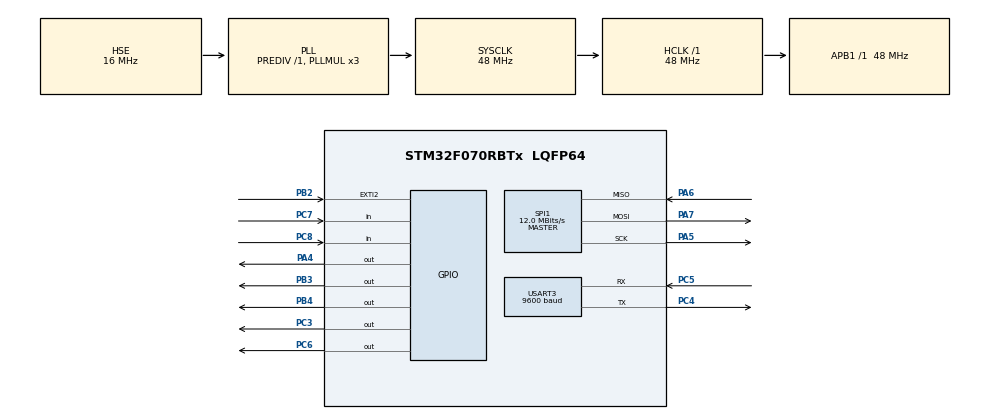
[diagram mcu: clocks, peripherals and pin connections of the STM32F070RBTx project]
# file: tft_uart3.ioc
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Mcu.Family=STM32F0
Mcu.Name=STM32F070RBTx
Mcu.Package=LQFP64
NVIC.EXTI2_3_IRQn=true\:0\:0\:false\:false\:true
NVIC.USART3_4_IRQn=true\:0\:0\:false\:false\:true
PA4.PinState=GPIO_PIN_SET
PA4.Signal=GPIO_Output
PA5.Mode=Full_Duplex_Master
PA5.Signal=SPI1_SCK
PA6.Mode=Full_Duplex_Master
PA6.Signal=SPI1_MISO
PA7.Mode=Full_Duplex_Master
PA7.Signal=SPI1_MOSI
PB2.GPIO_ModeDefaultEXTI=GPIO_MODE_IT_FALLING
PB2.GPIO_PuPd=GPIO_PULLUP
PB2.Signal=GPXTI2
PB3.Signal=GPIO_Output
PB4.Signal=GPIO_Output
PC3.PinState=GPIO_PIN_SET
PC3.Signal=GPIO_Output
PC4.Mode=Asynchronous
PC4.Signal=USART3_TX
PC5.Mode=Asynchronous
PC5.Signal=USART3_RX
PC6.PinState=GPIO_PIN_SET
PC6.Signal=GPIO_Output
PC7.Signal=GPIO_Input
PC8.Signal=GPIO_Input
PF0-OSC_IN.Mode=HSE-External-Oscillator
PF0-OSC_IN.Signal=RCC_OSC_IN
PF1-OSC_OUT.Mode=HSE-External-Oscillator
PF1-OSC_OUT.Signal=RCC_OSC_OUT
ProjectManager.HeapSize=0x200
ProjectManager.StackSize=0x400
ProjectManager.TargetToolchain=MDK-ARM V5
RCC.AHBFreq_Value=48000000
RCC.APB1Freq_Value=48000000
RCC.APB1TimFreq_Value=48000000
RCC.HCLKFreq_Value=48000000
RCC.HSE_VALUE=16000000
RCC.PLLMUL=RCC_PLL_MUL3
RCC.PLLSourceVirtual=RCC_PLLSOURCE_HSE
RCC.SYSCLKFreq_VALUE=48000000
RCC.SYSCLKSource=RCC_SYSCLKSOURCE_PLLCLK
SPI1.BaudRatePrescaler=SPI_BAUDRATEPRESCALER_4
SPI1.CalculateBaudRate=12.0 MBits/s
SPI1.DataSize=SPI_DATASIZE_8BIT
SPI1.Direction=SPI_DIRECTION_2LINES
SPI1.Mode=SPI_MODE_MASTER
SPI1.VirtualType=VM_MASTER
USART3.BaudRate=9600
USART3.VirtualMode-Asynchronous=VM_ASYNC
USART3.WordLength=WORDLENGTH_8B
board=tft_uart3

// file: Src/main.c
/**
  ******************************************************************************
  * File Name          : main.c
  * Description        : Main program body
  ******************************************************************************
  ** This notice applies to any and all portions of this file
  * that are not between comment pairs USER CODE BEGIN and
  * USER CODE END. Other portions of this file, whether
  * inserted by the user or by software development tools
  * are owned by their respective copyright owners.
  *
  * COPYRIGHT(c) 2017 STMicroelectronics
  *
  * Redistribution and use in source and binary forms, with or without modification,
  * are permitted provided that the following conditions are met:
  *   1. Redistributions of source code must retain the above copyright notice,
  *      this list of conditions and the following disclaimer.
  *   2. Redistributions in binary form must reproduce the above copyright notice,
  *      this list of conditions and the following disclaimer in the documentation
  *      and/or other materials provided with the distribution.
  *   3. Neither the name of STMicroelectronics nor the names of its contributors
  *      may be used to endorse or promote products derived from this software
  *      without specific prior written permission.
  *
  * THIS SOFTWARE IS PROVIDED BY THE COPYRIGHT HOLDERS AND CONTRIBUTORS "AS IS"
  * AND ANY EXPRESS OR IMPLIED WARRANTIES, INCLUDING, BUT NOT LIMITED TO, THE
  * IMPLIED WARRANTIES OF MERCHANTABILITY AND FITNESS FOR A PARTICULAR PURPOSE ARE
  * DISCLAIMED. IN NO EVENT SHALL THE COPYRIGHT HOLDER OR CONTRIBUTORS BE LIABLE
  * FOR ANY DIRECT, INDIRECT, INCIDENTAL, SPECIAL, EXEMPLARY, OR CONSEQUENTIAL
  * DAMAGES (INCLUDING, BUT NOT LIMITED TO, PROCUREMENT OF SUBSTITUTE GOODS OR
  * SERVICES; LOSS OF USE, DATA, OR PROFITS; OR BUSINESS INTERRUPTION) HOWEVER
  * CAUSED AND ON ANY THEORY OF LIABILITY, WHETHER IN CONTRACT, STRICT LIABILITY,
  * OR TORT (INCLUDING NEGLIGENCE OR OTHERWISE) ARISING IN ANY WAY OUT OF THE USE
  * OF THIS SOFTWARE, EVEN IF ADVISED OF THE POSSIBILITY OF SUCH DAMAGE.
  *
  ******************************************************************************
  */
#include "main.h"
#include "stm32f0xx_hal.h"
#include "tft_spi.c"

SPI_HandleTypeDef hspi1;

UART_HandleTypeDef huart3;

/* USER CODE BEGIN PV */
/* Private variables ---------------------------------------------------------*/

/* USER CODE END PV */

void SystemClock_Config(void);
static void MX_GPIO_Init(void);
static void MX_SPI1_Init(void);
static void MX_USART3_UART_Init(void);

/* USER CODE BEGIN PFP */
/* Private function prototypes -----------------------------------------------*/
unsigned char buffer[50],ch;
int i=0,flag2=0,flag=0;
/* USER CODE END PFP */

/* USER CODE BEGIN 0 */
void HAL_UART_RxCpltCallback(UART_HandleTypeDef *huart)
{
//flag2=1;
  /* Prevent unused argument(s) compilation warning */
  UNUSED(huart);
if(huart->Instance==USART3)
{
HAL_UART_Receive_IT(&huart3,&ch,1);
buffer[i++]=ch;
	if(ch==0x0D)
	{
		flag2=1;
	}
}
  /* NOTE : This function should not be modified, when the callback is needed,
            the HAL_UART_RxCpltCallback can be implemented in the user file.
   */
}
/* USER CODE END 0 */

int main(void)
{

  /* MCU Configuration----------------------------------------------------------*/

  /* Reset of all peripherals, Initializes the Flash interface and the Systick. */
  HAL_Init();

  /* Configure the system clock */
  SystemClock_Config();

  /* Initialize all configured peripherals */
  MX_GPIO_Init();
  MX_SPI1_Init();
  MX_USART3_UART_Init();

  /* USER CODE BEGIN 2 */
tft_init();
HAL_UART_Receive_IT(&huart3,&ch,1);
POINT_COLOR=RED;
tft_puts14x24(10,10,"Shivam",1);
  /* USER CODE END 2 */
  /* Infinite loop */
  while (1)
  {

  /* USER CODE BEGIN 3 */
if(flag==1)
{
HAL_UART_Transmit(&huart3,"PARASHAR\r\n",9,10);
tft_clear(WHITE);
POINT_COLOR=RED;
tft_puts14x24(50,50,"Parashar",1);
	//HAL_Delay(100);
//tft_puts14x24(10,10,buffer,1);
flag=0;
}

if(flag2==1)
{
tft_clear(WHITE);
tft_puts14x24(70,10,buffer,1);
HAL_UART_Transmit(&huart3,buffer,i,10);
flag2=0;
i=0;
}
	//HAL_UART_Transmit(&huart3,"K",1,10);
  }
  /* USER CODE END 3 */

}

/** System Clock Configuration
*/
void SystemClock_Config(void)
{

  RCC_OscInitTypeDef RCC_OscInitStruct;
  RCC_ClkInitTypeDef RCC_ClkInitStruct;

    /**Initializes the CPU, AHB and APB busses clocks
    */
  RCC_OscInitStruct.OscillatorType = RCC_OSCILLATORTYPE_HSE;
  RCC_OscInitStruct.HSEState = RCC_HSE_ON;
  RCC_OscInitStruct.HSIState = RCC_HSI_ON;
  RCC_OscInitStruct.PLL.PLLState = RCC_PLL_ON;
  RCC_OscInitStruct.PLL.PLLSource = RCC_PLLSOURCE_HSE;
  RCC_OscInitStruct.PLL.PLLMUL = RCC_PLL_MUL3;
  RCC_OscInitStruct.PLL.PREDIV = RCC_PREDIV_DIV1;
  if (HAL_RCC_OscConfig(&RCC_OscInitStruct) != HAL_OK)
  {
    _Error_Handler(__FILE__, __LINE__);
  }

    /**Initializes the CPU, AHB and APB busses clocks
    */
  RCC_ClkInitStruct.ClockType = RCC_CLOCKTYPE_HCLK|RCC_CLOCKTYPE_SYSCLK
                              |RCC_CLOCKTYPE_PCLK1;
  RCC_ClkInitStruct.SYSCLKSource = RCC_SYSCLKSOURCE_PLLCLK;
  RCC_ClkInitStruct.AHBCLKDivider = RCC_SYSCLK_DIV1;
  RCC_ClkInitStruct.APB1CLKDivider = RCC_HCLK_DIV1;

  if (HAL_RCC_ClockConfig(&RCC_ClkInitStruct, FLASH_LATENCY_1) != HAL_OK)
  {
    _Error_Handler(__FILE__, __LINE__);
  }

    /**Configure the Systick interrupt time
    */
  HAL_SYSTICK_Config(HAL_RCC_GetHCLKFreq()/1000);

    /**Configure the Systick
    */
  HAL_SYSTICK_CLKSourceConfig(SYSTICK_CLKSOURCE_HCLK);

  /* SysTick_IRQn interrupt configuration */
  HAL_NVIC_SetPriority(SysTick_IRQn, 0, 0);
}

/* SPI1 init function */
static void MX_SPI1_Init(void)
{

  hspi1.Instance = SPI1;
  hspi1.Init.Mode = SPI_MODE_MASTER;
  hspi1.Init.Direction = SPI_DIRECTION_2LINES;
  hspi1.Init.DataSize = SPI_DATASIZE_8BIT;
  hspi1.Init.CLKPolarity = SPI_POLARITY_LOW;
  hspi1.Init.CLKPhase = SPI_PHASE_1EDGE;
  hspi1.Init.NSS = SPI_NSS_SOFT;
  hspi1.Init.BaudRatePrescaler = SPI_BAUDRATEPRESCALER_4;
  hspi1.Init.FirstBit = SPI_FIRSTBIT_MSB;
  hspi1.Init.TIMode = SPI_TIMODE_DISABLE;
  hspi1.Init.CRCCalculation = SPI_CRCCALCULATION_DISABLE;
  hspi1.Init.CRCPolynomial = 7;
  hspi1.Init.CRCLength = SPI_CRC_LENGTH_DATASIZE;
  hspi1.Init.NSSPMode = SPI_NSS_PULSE_ENABLE;
  if (HAL_SPI_Init(&hspi1) != HAL_OK)
  {
    _Error_Handler(__FILE__, __LINE__);
  }

}

/* USART3 init function */
static void MX_USART3_UART_Init(void)
{

  huart3.Instance = USART3;
  huart3.Init.BaudRate = 9600;
  huart3.Init.WordLength = UART_WORDLENGTH_8B;
  huart3.Init.StopBits = UART_STOPBITS_1;
  huart3.Init.Parity = UART_PARITY_NONE;
  huart3.Init.Mode = UART_MODE_TX_RX;
  huart3.Init.HwFlowCtl = UART_HWCONTROL_NONE;
  huart3.Init.OverSampling = UART_OVERSAMPLING_16;
  huart3.Init.OneBitSampling = UART_ONE_BIT_SAMPLE_DISABLE;
  huart3.AdvancedInit.AdvFeatureInit = UART_ADVFEATURE_NO_INIT;
  if (HAL_UART_Init(&huart3) != HAL_OK)
  {
    _Error_Handler(__FILE__, __LINE__);
  }

}

/** Configure pins as
        * Analog
        * Input
        * Output
        * EVENT_OUT
        * EXTI
*/
static void MX_GPIO_Init(void)
{

  GPIO_InitTypeDef GPIO_InitStruct;

  /* GPIO Ports Clock Enable */
  __HAL_RCC_GPIOF_CLK_ENABLE();
  __HAL_RCC_GPIOC_CLK_ENABLE();
  __HAL_RCC_GPIOA_CLK_ENABLE();
  __HAL_RCC_GPIOB_CLK_ENABLE();

  /*Configure GPIO pin Output Level */
  HAL_GPIO_WritePin(GPIOC, GPIO_PIN_3|GPIO_PIN_6, GPIO_PIN_SET);

  /*Configure GPIO pin Output Level */
  HAL_GPIO_WritePin(GPIOA, GPIO_PIN_4, GPIO_PIN_SET);

  /*Configure GPIO pin Output Level */
  HAL_GPIO_WritePin(GPIOB, GPIO_PIN_3|GPIO_PIN_4, GPIO_PIN_RESET);

  /*Configure GPIO pins : PC3 PC6 */
  GPIO_InitStruct.Pin = GPIO_PIN_3|GPIO_PIN_6;
  GPIO_InitStruct.Mode = GPIO_MODE_OUTPUT_PP;
  GPIO_InitStruct.Pull = GPIO_NOPULL;
  GPIO_InitStruct.Speed = GPIO_SPEED_FREQ_LOW;
  HAL_GPIO_Init(GPIOC, &GPIO_InitStruct);

  /*Configure GPIO pin : PA4 */
  GPIO_InitStruct.Pin = GPIO_PIN_4;
  GPIO_InitStruct.Mode = GPIO_MODE_OUTPUT_PP;
  GPIO_InitStruct.Pull = GPIO_NOPULL;
  GPIO_InitStruct.Speed = GPIO_SPEED_FREQ_LOW;
  HAL_GPIO_Init(GPIOA, &GPIO_InitStruct);

  /*Configure GPIO pin : PB2 */
  GPIO_InitStruct.Pin = GPIO_PIN_2;
  GPIO_InitStruct.Mode = GPIO_MODE_IT_FALLING;
  GPIO_InitStruct.Pull = GPIO_PULLUP;
  HAL_GPIO_Init(GPIOB, &GPIO_InitStruct);

  /*Configure GPIO pins : PC7 PC8 */
  GPIO_InitStruct.Pin = GPIO_PIN_7|GPIO_PIN_8;
  GPIO_InitStruct.Mode = GPIO_MODE_INPUT;
  GPIO_InitStruct.Pull = GPIO_NOPULL;
  HAL_GPIO_Init(GPIOC, &GPIO_InitStruct);

  /*Configure GPIO pins : PB3 PB4 */
  GPIO_InitStruct.Pin = GPIO_PIN_3|GPIO_PIN_4;
  GPIO_InitStruct.Mode = GPIO_MODE_OUTPUT_PP;
  GPIO_InitStruct.Pull = GPIO_NOPULL;
  GPIO_InitStruct.Speed = GPIO_SPEED_FREQ_LOW;
  HAL_GPIO_Init(GPIOB, &GPIO_InitStruct);

  /* EXTI interrupt init*/
  HAL_NVIC_SetPriority(EXTI2_3_IRQn, 0, 0);
  HAL_NVIC_EnableIRQ(EXTI2_3_IRQn);

}

void _Error_Handler(char * file, int line)
{
  while(1)
  {
  }
}

/************************ (C) COPYRIGHT STMicroelectronics *****END OF FILE****/
